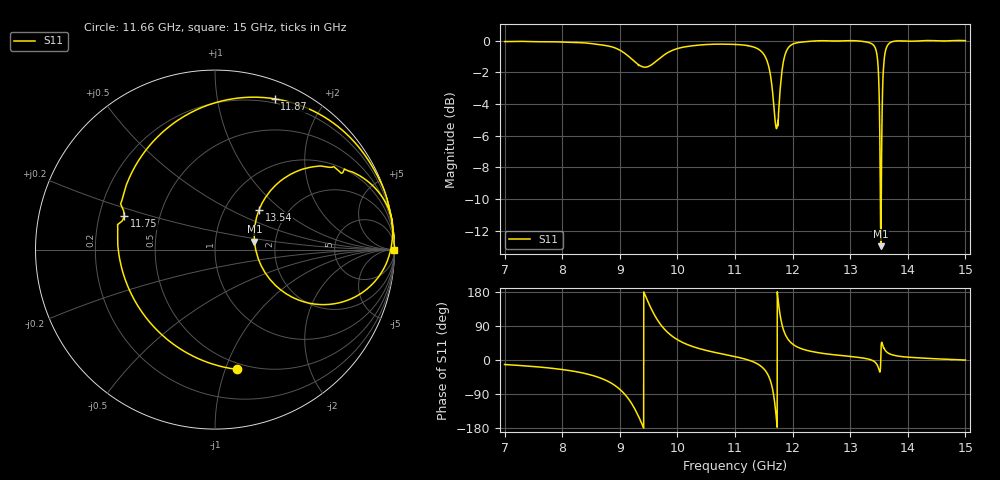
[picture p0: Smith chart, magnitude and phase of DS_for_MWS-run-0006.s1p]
! TOUCHSTONE file generated by CST DESIGN STUDIO
! Date and time: Mon Feb 10 16:42:55 2025
! Project name: C:\Work\MatlabApps\UnitCellType2OptimizationMatlab\CST\unitcell.cst
! Tree item: Tasks\Sweep1\SPara1\S-Parameters
! Header version: 2024
! Port assignment regex: !\s*Touchstone port\s*([0-9]+)\s*=\s*(CST MWS port|CST DES external port|CST DES block port)\s*(.+)\s* \(\"(.*)\"\)(\s*mode\s*([0-9]+))?.*
! Touchstone port assignment:
! Touchstone port 1 = CST DES external port 1 ("")
# GHz S MA R 50
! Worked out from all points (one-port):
!   4001 points, 7 GHz to 15 GHz, reference 50 ohm
!   lowest |S11| = -13.0 dB at 13.53 GHz (marker M1), VSWR 1.58, Z = 77.7 + j7.33 ohm
!   |S11| at or under -10 dB: 13.52348 GHz to 13.53922 GHz (15.73 MHz wide, 0.116 % of centre)
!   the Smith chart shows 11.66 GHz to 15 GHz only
!   S11 on the Smith chart (normalised r, x): 11.66 GHz: 0.44, -1.10; 11.75 GHz: 0.31, +0.16; 11.87 GHz: 0.16, +1.46; 13.54 GHz: 1.44, +0.72; 15 GHz: open
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7  0.9931 -12.0
8  0.9893 -25.2
8.636  0.9719 -46.0
9  0.9332 -77.3
9.226  0.8686 -119.9
9.426  0.8245 176.2
9.546  0.8379 135.2
9.656  0.8688 105.0
10  0.9439 53.6
10.378  0.9683 30.2
11  0.9727 8.9
11.484  0.9135 -20.7
11.582  0.8331 -42.1
11.656  0.6784 -79.7
11.696  0.5607 -121.2
11.748  0.5386 159.8
11.806  0.7754 99.9
11.87  0.9038 68.3
12  0.9746 42.0
13  0.9998 9.5
13.42  0.9594 -4.3
13.488  0.808 -19.8
13.532  0.2243 11.5
13.54  0.332 42.2
13.582  0.8302 31.0
13.656  0.9708 18.6
14  0.9962 7.5
15  0.9997 -0.1
